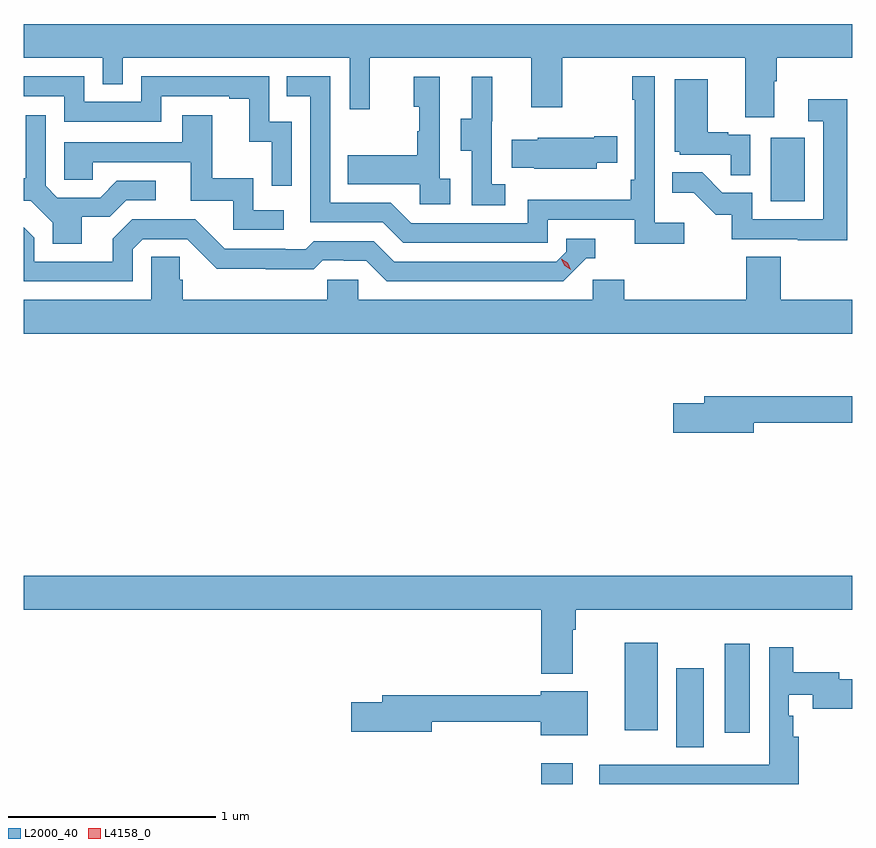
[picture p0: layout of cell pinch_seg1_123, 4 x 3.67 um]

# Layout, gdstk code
import gdstk
lib = gdstk.Library(unit=1e-6, precision=1e-09)
def R(c, l, rs):  # rectangles x0, y0, x1, y1
    for r in rs: c.add(gdstk.rectangle(r[:2], r[2:], *l))
def P(c, l, *ps):  # polygons
    for p in ps: c.add(gdstk.Polygon(p, *l))
L2000_40 = (2000, 40)
L4158_0 = (4158, 0)

pinch_seg1_123 = lib.new_cell('pinch_seg1_123')
R(pinch_seg1_123, L2000_40, [(1045.595,554.887,1045.747,554.986), (1046.246,555.064,1046.38,555.445), (1046.48,555.135,1046.602,555.565), (1045.997,555.147,1046.158,555.568), (1046.702,557.7,1046.866,558.007)])
P(pinch_seg1_123, L2000_40, [(1046.719,558.28),(1046.732,558.28),(1046.732,558.392),(1047.096,558.392),(1047.096,558.556),(1043.096,558.556),(1043.096,558.392),(1043.478,558.392),(1043.478,558.265),(1043.574,558.265),(1043.574,558.392),(1044.669,558.392),(1044.669,558.144),(1044.767,558.144),(1044.767,558.392),(1045.547,558.392),(1045.547,558.153),(1045.695,558.153),(1045.695,558.392),(1046.579,558.392),(1046.579,558.106),(1046.719,558.106)],
  [(1046.284,557.596),(1046.142,557.596),(1046.142,558.304),(1046.034,558.304),(1046.034,558.191),(1046.046,558.191),(1046.046,557.803),(1046.026,557.803),(1046.026,557.707),(1045.53,557.707),(1045.53,557.595),(1044.966,557.595),(1044.867,557.694),(1044.576,557.694),(1044.576,558.303),(1044.367,558.303),(1044.367,558.207),(1044.48,558.207),(1044.48,557.598),(1044.83,557.598),(1044.929,557.499),(1045.626,557.499),(1045.626,557.61),(1046.045,557.61),(1046.045,557.494),(1046.284,557.494)],
  [(1044.39,558.084),(1044.282,558.084),(1044.282,558.303),(1043.664,558.303),(1043.664,558.18),(1043.388,558.18),(1043.388,558.303),(1043.096,558.303),(1043.096,558.207),(1043.292,558.207),(1043.292,558.084),(1043.76,558.084),(1043.76,558.207),(1044.089,558.207),(1044.089,558.195),(1044.185,558.195),(1044.185,557.987),(1044.294,557.987),(1044.294,557.775),(1044.39,557.775)],
  [(1045.42,557.783),(1045.356,557.783),(1045.356,558.087),(1045.358,558.087),(1045.358,558.301),(1045.259,558.301),(1045.259,558.099),(1045.205,558.099),(1045.205,557.944),(1045.26,557.944),(1045.26,557.68),(1045.42,557.68)],
  [(1045.156,557.81),(1045.104,557.81),(1045.104,558.301),(1044.98,558.301),(1044.98,558.156),(1045.006,558.156),(1045.006,558.038),(1044.996,558.038),(1044.996,557.923),(1044.661,557.923),(1044.661,557.783),(1045.008,557.783),(1045.008,557.685),(1045.156,557.685)],
  [(1046.604,558.021),(1046.498,558.021),(1046.498,558.034),(1046.398,558.034),(1046.398,558.289),(1046.24,558.289),(1046.24,557.94),(1046.262,557.94),(1046.262,557.925),(1046.509,557.925),(1046.509,557.827),(1046.604,557.827)],
  [(1047.071,558.193),(1046.883,558.193),(1046.883,558.087),(1046.955,558.087),(1046.955,557.613),(1046.613,557.613),(1046.613,557.742),(1046.469,557.742),(1046.371,557.84),(1046.227,557.84),(1046.227,557.741),(1046.331,557.741),(1046.438,557.634),(1046.515,557.634),(1046.515,557.517),(1046.833,557.517),(1046.833,557.512),(1047.071,557.512)],
  [(1044.352,557.658),(1044.204,557.658),(1044.204,557.812),(1044.005,557.812),(1044.005,558.115),(1043.861,558.115),(1043.861,557.985),(1043.292,557.985),(1043.292,557.805),(1043.429,557.805),(1043.429,557.889),(1043.903,557.889),(1043.903,557.703),(1044.108,557.703),(1044.108,557.562),(1044.352,557.562)],
  [(1043.377,557.626),(1043.512,557.626),(1043.592,557.706),(1043.734,557.706),(1043.734,557.799),(1043.546,557.799),(1043.465,557.718),(1043.259,557.718),(1043.202,557.775),(1043.202,558.115),(1043.105,558.115),(1043.105,557.812),(1043.096,557.812),(1043.096,557.703),(1043.13,557.703),(1043.237,557.596),(1043.237,557.494),(1043.377,557.494)],
  [(1045.863,557.885),(1045.961,557.885),(1045.961,558.015),(1045.85,558.015),(1045.85,558.007),(1045.578,558.007),(1045.578,557.998),(1045.453,557.998),(1045.453,557.861),(1045.561,557.861),(1045.561,557.858),(1045.863,557.858)],
  [(1043.622,557.469),(1043.67,557.517),(1043.886,557.517),(1044.028,557.375),(1044.264,557.375),(1044.264,557.373),(1044.497,557.373),(1044.539,557.415),(1044.642,557.415),(1044.642,557.412),(1044.749,557.412),(1044.848,557.313),(1045.701,557.313),(1045.812,557.424),(1045.855,557.424),(1045.855,557.52),(1045.716,557.52),(1045.716,557.457),(1045.668,557.409),(1044.885,557.409),(1044.786,557.508),(1044.497,557.508),(1044.458,557.469),(1044.359,557.469),(1044.359,557.472),(1044.066,557.472),(1043.925,557.613),(1043.619,557.613),(1043.525,557.519),(1043.525,557.409),(1043.148,557.409),(1043.148,557.523),(1043.096,557.575),(1043.096,557.313),(1043.622,557.313)],
  [(1047.096,557.224),(1046.75,557.224),(1046.75,557.432),(1046.585,557.432),(1046.585,557.224),(1045.994,557.224),(1045.994,557.322),(1045.842,557.322),(1045.842,557.224),(1044.711,557.224),(1044.711,557.322),(1044.561,557.322),(1044.561,557.224),(1043.864,557.224),(1043.864,557.322),(1043.849,557.322),(1043.849,557.432),(1043.712,557.432),(1043.712,557.224),(1043.096,557.224),(1043.096,557.06),(1047.096,557.06)],
  [(1046.62,556.63),(1047.096,556.63),(1047.096,556.759),(1046.381,556.759),(1046.381,556.725),(1046.232,556.725),(1046.232,556.583),(1046.62,556.583)],
  [(1045.747,555.632),(1045.76,555.632),(1045.76,555.728),(1047.096,555.728),(1047.096,555.892),(1043.096,555.892),(1043.096,555.728),(1045.595,555.728),(1045.595,555.419),(1045.747,555.419)],
  [(1046.837,555.115),(1046.81,555.115),(1046.81,555.216),(1046.79,555.216),(1046.79,555.317),(1046.906,555.317),(1046.906,555.251),(1047.096,555.251),(1047.096,555.393),(1047.034,555.393),(1047.034,555.427),(1046.81,555.427),(1046.81,555.547),(1046.694,555.547),(1046.694,554.98),(1046.484,554.98),(1046.484,554.979),(1046.15,554.979),(1046.15,554.98),(1045.875,554.98),(1045.875,554.887),(1046.837,554.887)],
  [(1045.819,555.334),(1045.592,555.334),(1045.592,555.316),(1044.827,555.316),(1044.827,555.282),(1044.678,555.282),(1044.678,555.14),(1045.066,555.14),(1045.066,555.187),(1045.592,555.187),(1045.592,555.122),(1045.819,555.122)])
P(pinch_seg1_123, L4158_0, [(1045.738,557.37),(1045.707,557.389),(1045.69,557.421),(1045.69,557.422),(1045.691,557.422),(1045.722,557.403),(1045.738,557.37),(1045.738,557.37)])

lib.write_gds('pinch_seg1_123.gds')
